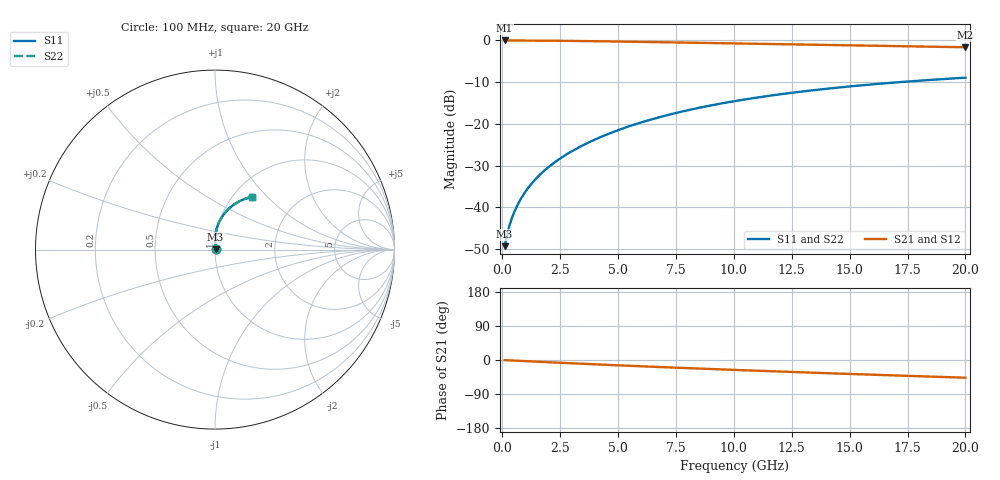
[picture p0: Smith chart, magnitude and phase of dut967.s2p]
! Touchstone file exported from HFSS 2024.1.0
!  File:  C:/UserFiles/LocalFiles/RDL_TSV_Batchsim/temp_RDL_bottom_967_1779942873.aedt
!  Generated:  12:37:07 PM May 28, 2026
!  Design:  RDL_bottom
!  Project:  temp_RDL_bottom_967_1779942873
!  Setup:  Setup1
!  Solution:  Sweep
! Variables:
!  dtsv = 10.80580581um
!  hbump = 3um
!  htsv = 66.36um
!  ldown = 690.71um
!  lrdl = 100um
!  p = 40
!  p1 = 54.11um
!  rhole = 1um
!  t = 450um
!  tdown = 3.22um
!  trdl = 3.915915916um
!  wdown = 28.67um
!  wrdl = 20um
# GHz S MA R 50.000000
! Terminal data exported
! Port[1] = RDL1_T1
! Port[2] = RDL1_T2
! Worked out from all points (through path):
!   200 points, 100 MHz to 20 GHz, reference 50 ohm
!   highest |S21| = -0.03 dB at 100 MHz (marker M1); lowest = -1.7 dB at 20 GHz (marker M2)
!   group delay of S21, straight-line fit = 6.4 ps
!   lowest |S11| = -49.3 dB at 100 MHz (marker M3), VSWR 1.01, Z = 50.3 + j0.176 ohm
!   |S11| at or under -10 dB: start of sweep to 17.2 GHz
!   |S22| runs from -49.3 to -8.9 dB; largest |S21 - S12| = 8.1e-15
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0.1  0.003413 30.9  0.9971 -0.3  0.9971 -0.3  0.003413 30.9
! Gamma 0 0 0 0
! Port Impedance 50 0 50 0
0.2  0.004601 47.3  0.9968 -0.6  0.9968 -0.6  0.004601 47.3
0.3  0.005901 56.0  0.9965 -0.9  0.9965 -0.9  0.005901 56.0
0.4  0.007207 61.6  0.9963 -1.2  0.9963 -1.2  0.007207 61.6
0.5  0.00852 65.8  0.996 -1.5  0.996 -1.5  0.00852 65.8
0.6  0.009849 69.0  0.9958 -1.8  0.9958 -1.8  0.009849 69.0
0.8  0.01257 73.7  0.9953 -2.4  0.9953 -2.4  0.01257 73.7
1  0.01537 77.0  0.9948 -3.0  0.9948 -3.0  0.01537 77.0
1.2  0.01824 79.4  0.9942 -3.5  0.9942 -3.5  0.01824 79.4
1.7  0.02569 83.4  0.9922 -5.0  0.9922 -5.0  0.02569 83.4
2.2  0.03351 85.7  0.9897 -6.4  0.9897 -6.4  0.03351 85.7
2.8  0.04338 87.3  0.986 -8.1  0.986 -8.1  0.04339 87.3
3.5  0.05557 88.1  0.9809 -10.1  0.9809 -10.1  0.05558 88.1
4.2  0.06844 88.3  0.9751 -12.0  0.9751 -12.0  0.06845 88.3
5  0.08383 87.8  0.968 -14.1  0.968 -14.1  0.08384 87.8
6.8  0.1202 85.1  0.9507 -18.6  0.9507 -18.6  0.1203 85.1
8.4  0.1534 81.7  0.9349 -22.4  0.9349 -22.4  0.1535 81.7
10.1  0.1882 77.7  0.9182 -26.3  0.9182 -26.3  0.1883 77.7
11.7  0.2199 73.9  0.9027 -29.9  0.9027 -29.9  0.22 73.9
13.4  0.2519 69.8  0.8865 -33.5  0.8865 -33.5  0.252 69.8
16.7  0.3084 62.2  0.8559 -40.3  0.8559 -40.3  0.3085 62.2
20  0.3569 55.2  0.8266 -46.7  0.8266 -46.7  0.3571 55.2
